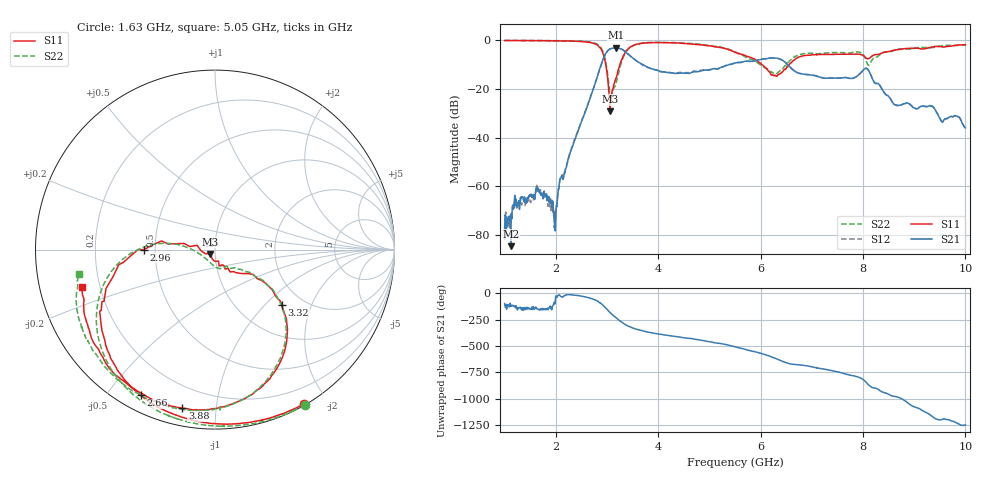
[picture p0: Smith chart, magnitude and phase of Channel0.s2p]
!Agilent Technologies,N5227A,US51270477,A.10.00.00
!File generated by LCAF-GAM-UPV software
!josevmart@iteam.upv.es
!S2P File: Measurements: S11, S21, S12, S22:
# Hz S  dB  R 50
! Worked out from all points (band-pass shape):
!   901 points, 1 GHz to 10 GHz, reference 50 ohm
!   highest |S21| = -3.01 dB at 3.18 GHz (marker M1); lowest = -84.8 dB at 1.12 GHz (marker M2)
!   |S21| within 3 dB of the highest: 2.96 GHz to 3.433 GHz (473.6 MHz wide, 14.8 % of centre)
!   lowest |S11| = -29.2 dB at 3.06 GHz (marker M3), VSWR 1.07, Z = 47.5 - j2.27 ohm
!   |S11| at or under -10 dB: 2.977 GHz to 3.25 GHz (273.9 MHz wide, 8.8 % of centre); 6.027 GHz to 6.557 GHz (530.7 MHz wide, 8.44 % of centre)
!   |S22| runs from -22.8 to 0.0 dB; largest |S21 - S12| = 0.037
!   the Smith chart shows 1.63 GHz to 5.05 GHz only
!   S11 on the Smith chart (normalised r, x): 1.63 GHz: 0.02, -1.73; 2.66 GHz: 0.06, -0.61; 2.96 GHz: 0.43, -0.00; 3.32 GHz: 1.56, -1.27; 3.88 GHz: 0.09, -0.81; 5.05 GHz: 0.13, -0.13
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1e9  -0.02 -35.5  -78.37 -97.9  -82.28 -41.2  0.00 -36.0
1.12e9  -0.02 -40.1  -84.80 -125.1  -74.00 -137.0  0.00 -40.4
1.63e9  -0.07 -60.0  -60.50 -148.8  -59.72 -143.6  -0.01 -60.0
1.99e9  -0.13 -74.5  -78.47 -70.0  -71.32 -34.6  -0.06 -75.3
2.09e9  -0.17 -79.0  -57.09 -28.1  -57.35 -32.2  -0.09 -80.6
2.5e9  -0.44 -101.6  -33.48 -27.7  -33.54 -27.8  -0.30 -102.6
2.66e9  -0.81 -117.1  -24.30 -46.3  -24.26 -45.7  -0.62 -118.1
2.96e9  -8.07 -180.0  -6.00 -131.3  -6.02 -130.7  -7.38 179.9
3.06e9  -29.16 -136.8  -3.48 175.5  -3.49 178.4  -22.17 -152.5
3.18e9  -15.29 -47.9  -3.01 126.4  -3.00 126.8  -17.40 -51.0
3.32e9  -6.29 -39.8  -4.05 75.1  -3.96 76.6  -6.88 -38.4
3.57e9  -1.60 -75.5  -8.30 19.5  -8.30 19.6  -1.61 -75.8
3.88e9  -0.91 -101.6  -11.77 -15.6  -11.83 -15.2  -0.80 -102.8
4e9  -0.86 -109.3  -12.44 -26.6  -12.44 -26.3  -0.82 -110.6
5.05e9  -2.29 -164.4  -11.88 -103.6  -11.77 -104.7  -2.28 -169.9
5.5e9  -4.89 166.8  -9.30 -147.8  -9.35 -147.1  -4.65 161.6
6.29e9  -14.45 159.6  -7.25 102.6  -7.27 103.6  -13.42 162.8
7e9  -5.90 124.1  -14.32 23.9  -14.25 23.6  -5.23 119.7
7.48e9  -5.68 66.6  -15.49 -22.3  -15.51 -23.1  -4.98 66.3
8.06e9  -7.23 8.8  -11.39 -123.2  -11.50 -124.6  -8.23 -7.8
8.5e9  -4.53 -8.0  -23.04 122.5  -23.09 121.6  -4.65 -5.7
1e10  -1.75 -84.1  -36.05 -166.9  -36.25 -165.5  -1.76 -96.1
